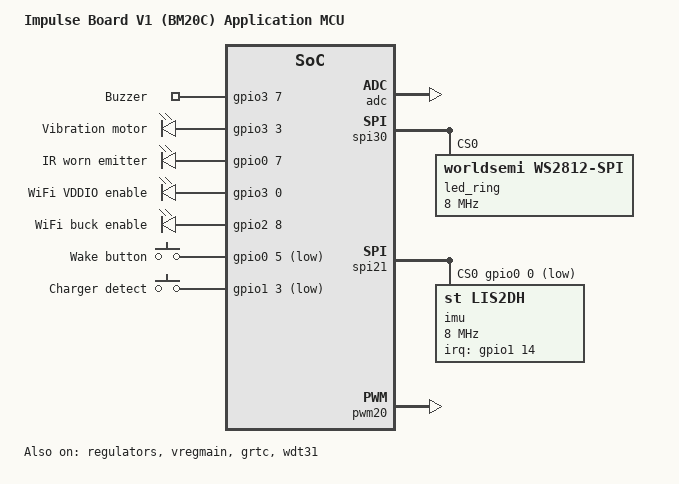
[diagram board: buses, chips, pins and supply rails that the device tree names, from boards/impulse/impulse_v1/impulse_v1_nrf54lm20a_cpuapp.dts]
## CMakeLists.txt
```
# SPDX-License-Identifier: Apache-2.0
cmake_minimum_required(VERSION 3.20.0)

# Board V1 lives in this tree, not in Zephyr's.
list(APPEND BOARD_ROOT ${CMAKE_CURRENT_SOURCE_DIR})

find_package(Zephyr REQUIRED HINTS $ENV{ZEPHYR_BASE})
project(impulse_firmware LANGUAGES C)

target_include_directories(app PRIVATE src)

target_sources(app PRIVATE
    src/main.c
    src/schedule/event.c
    src/schedule/schedule_blob.c
    src/schedule/schedule.c
    src/integrity/classify.c
    src/integrity/integrity.c
    src/enforcement/profiles.c
    src/enforcement/enforcement.c
    src/proximity/proximity.c
    src/proximity/cs_fuse.c
    src/storage/storage.c
    src/identity.c
    src/hal/outputs.c
    src/hal/led_ring.c
    src/hal/buttons.c
    src/hal/adc.c
    src/hal/servo.c
    src/fatal.c
)

target_sources_ifdef(CONFIG_IMPULSE_ROLE_ANCHOR app PRIVATE
    src/anchor/anchor.c
)

# One BLE module per role: the two services are disjoint and neither device
# needs the other's characteristics.
if(CONFIG_IMPULSE_BLE)
  if(CONFIG_IMPULSE_ROLE_ANCHOR)
    target_sources(app PRIVATE src/ble/ble_anchor.c)
  else()
    target_sources(app PRIVATE src/ble/ble_watch.c)
  endif()
endif()

target_sources_ifdef(CONFIG_IMPULSE_CS_BACKEND app PRIVATE
    src/proximity/cs_backend_nrf.c
)
# The reflector is the anchor's half of the pair. Both files define
# impulse_cs_backend_start(), so exactly one of them may be compiled.
target_sources_ifdef(CONFIG_IMPULSE_CS_REFLECTOR app PRIVATE
    src/proximity/cs_reflector_nrf.c
)
target_sources_ifdef(CONFIG_IMPULSE_NET app PRIVATE
    src/net/net_wifi.c
    src/net/net_udp.c
)

target_sources_ifdef(CONFIG_IMPULSE_BRINGUP_SHELL app PRIVATE
    src/hal/bringup_shell.c
)
```

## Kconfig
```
# Impulse firmware configuration
# SPDX-License-Identifier: Apache-2.0

menu "Impulse firmware"

choice IMPULSE_ROLE
	prompt "Device role"
	default IMPULSE_ROLE_WATCH
	help
	  One PCB, two roles, two images. Selected at COMPILE time, never at
	  runtime — firmware_spec_v3_nrf.md §1.3. The watch is the root of
	  trust; a runtime-selectable role would mean a watch could be told it
	  is an anchor, and an anchor does not enforce. That would reduce the
	  entire commitment-integrity chapter to a single settings write.

config IMPULSE_ROLE_WATCH
	bool "Watch"

config IMPULSE_ROLE_ANCHOR
	bool "Anchor"

endchoice

config IMPULSE_BLE
	bool "App-facing BLE peripheral and GATT surface"
	default y
	select BT
	select BT_PERIPHERAL
	select BT_GATT_DYNAMIC_DB
	help
	  The watch GATT service of firmware_spec_v2.md §5.6, minus the
	  deletions in v3 §4.8. This is how the app pushes a schedule, so with
	  it off the device cannot be configured at all.

	  The contract is FROZEN and declared in four places (CLAUDE.md).
	  Changing a UUID or a payload here without moving the app and
	  phone_sim in the same change breaks the product.

config IMPULSE_NET
	bool "WiFi + UDP anchor escalation (WATCH_REMOVED)"
	depends on WIFI_NRF70
	default y if WIFI_NRF70
	help
	  The §5.5.1 anchor-escalation path: the watch tells anchors it has been
	  taken off, over UDP. This is the transport that closes Sunrise Lock's
	  known bypass — leave the watch out of BLE range and go back to bed —
	  so it deliberately rides WiFi rather than BLE, which by construction
	  cannot outreach the thing it is trying to detect the absence of.

config IMPULSE_ESCALATION_WIFI_GIVEUP_MIN
	int "Minutes to keep retrying WiFi escalation before giving up"
	default 10
	help
	  How long the watch keeps trying to reach its anchors over WiFi after
	  the BLE link has failed, before it stops.

	  Escalation is BLE-first: the watch already holds a connection to the
	  anchor for ranging, so it writes there. WiFi is the fallback for the
	  case that matters most — the watch carried out of BLE range and left
	  there, which is Sunrise Lock's known bypass. Those two are mutually
	  exclusive by construction, which is required: BLE and WiFi cannot both
	  run on Board V1 (agent-notes 2026-09-12), and the FCC grant is
	  expected to forbid simultaneous operation.

	  Giving up is a DELIBERATE limit, not a fix. A watch that can reach
	  neither its anchor nor any network cannot escalate at all, and no
	  amount of retrying changes that; it is out of scope by decision.

config IMPULSE_CS_REFLECTOR
	bool "Channel Sounding REFLECTOR (anchor role)"
	help
	  The anchor half of the ranging pair: answers an initiator's tones and
	  serves ranging data over RAS. Computes no distance — the watch does
	  that, because the watch is the root of trust and an anchor is not
	  trusted to report its own distance (v3 §4).

	  Mutually exclusive with IMPULSE_CS_BACKEND, which is the initiator.
	  Build with: ./build.sh anchor -- -DEXTRA_CONF_FILE="anchor.conf;cs_reflector.conf"

config IMPULSE_CS_BACKEND
	bool "Real Channel Sounding backend (BLE + RAS)"
	default n
	select BT
	select BT_CENTRAL
	select BT_SMP
	select BT_GATT_CLIENT
	select BT_GATT_DYNAMIC_DB
	select BT_CHANNEL_SOUNDING
	select BT_RAS
	select BT_RAS_RREQ
	select BT_SCAN
	select BT_SCAN_FILTER_ENABLE
	select BT_CS_DE
	select BT_TRANSMIT_POWER_CONTROL
	select FPU
	select FPU_SHARING
	select CBPRINTF_FP_SUPPORT
	help
	  Replaces the abstaining stub with the real radio. Verified working
	  between Board V1 and an nRF54L15-DK in ../nrf_cs_test.

	  Default n while it still owns its own central connection and ranges
	  against whatever advertises the RAS service rather than against
	  event.anchorId — see the gap list at the top of cs_backend_nrf.c.
	  With it off, every measurement abstains, which fails CLOSED for
	  stayNear and open for getAway, exactly as spec §4.5 requires.

config IMPULSE_BRINGUP_SHELL
	bool "Bring-up shell over RTT"
	depends on SHELL
	default y
	help
	  Interactive commands that drive the buzzer, motor and LED ring
	  directly. Board V1 has no UART, so this is the only way to poke a
	  driver by hand.

	  MUST BE OFF IN A RELEASE IMAGE. On a commitment device, a runtime
	  path that can silence the motor and buzzer is a bypass; this is the
	  same reasoning that makes write-capable debug tools compile-time
	  excluded in the app rather than runtime-gated.

config IMPULSE_BUZZER_DISABLED
	bool "Compile out ALL buzzer output"
	default y
	help
	  Makes it impossible for this build to make a sound. Intended for
	  hardware testing in public, where an enforcement alarm or an anchor
	  removal beep going off would be a genuine disruption.

	  This is COMPILE-TIME on purpose, and it is belt and braces:
	    - impulse_buzzer_set() compiles to nothing, so no code path — not
	      an enforcement profile, not the anchor beep pattern, not the
	      Identify characteristic, not the bring-up shell — can drive it;
	    - the buzzer pin is never configured as an output. It is left as a
	      high-impedance input, so even a stray register write cannot make
	      the pad drive. R17 (10k to GND) holds the net low regardless.

	  A runtime flag would not do: on a commitment device the whole point
	  of the buzzer is that the user cannot silence it in the moment, so
	  the only safe way to guarantee silence is to not build the code.

	  DEFAULT IS y — REMEMBER TO SET IT BACK. The firmware prints a loud
	  warning at every boot while this is on, precisely so a silent buzzer
	  is never mistaken for a hardware fault later.

config IMPULSE_ADC_CH_BATTERY
	int "SAADC channel carrying the battery divider"
	default 0
	help
	  IDENTIFIED ON HARDWARE 2026-08-30, not read from a datasheet: the
	  AIN-to-pin mapping for the nRF54LM20A is in none of our documents
	  (BM20C.pdf lists analog functions only for the BM15). A boot sweep of
	  all eight inputs found AIN0 sitting at 2069 mV — Vbat/2 for a 4.14 V
	  cell — while every other channel was at rail, at zero, or noise.

	  This part has EIGHT inputs, AIN0..AIN7. Higher ids are rejected by
	  the driver.

config IMPULSE_ADC_CH_IR
	int "SAADC channel carrying the IR worn-detect receiver"
	default 1
	help
	  Also identified by the boot sweep: AIN1 was the only channel that
	  moved when the IR emitter was toggled (137 mV -> 73 mV). The swing is
	  NEGATIVE because the ITR8307's phototransistor pulls the node down as
	  it receives light, so more reflection means a lower reading.

config IMPULSE_WORN_THRESHOLD_MV
	int "IR lit-vs-ambient difference to become WORN"
	default 200
	help
	  Worn detection is lit-minus-ambient (§5.2), never an absolute level —
	  an absolute threshold tracks room lighting rather than skin.

	  STILL AN ESTIMATE. It could not be measured from a wrist because the
	  IR window is covered by the enclosure (2026-09-10), so this is set
	  from the NO-WRIST side only, which is the half that can be measured:

	    bare board, nothing in front of the sensor .... 64 mV
	    board in the case, on a desk, 8 samples ....... 75-90 mV

	  The case RAISES the floor — the plastic reflects the emitter straight
	  back — so the crosstalk this must clear is ~90 mV, not 64. 200 mV is
	  a bit over 2x that.

	  BIASED HIGH ON PURPOSE. The two failure directions are not equal:
	  reading "not worn" while worn costs a donning grace and a spurious
	  WATCH_REMOVED, while reading "worn" on a nightstand tells the system
	  a commitment is being honoured by a watch nobody is wearing. The
	  second is the one worth engineering against.

	  IF WORN NEVER ASSERTS, this is why — the number is too high for what
	  the enclosure lets through, not a broken sensor. Measure a real wrist
	  through the final window and set both this and the release value
	  below. See HARDWARE_TEST_PLAN.

config IMPULSE_WORN_RELEASE_MV
	int "IR difference at which WORN is released"
	default 140
	help
	  Hysteresis. Below this the watch is considered off the wrist; between
	  this and IMPULSE_WORN_THRESHOLD_MV the previous state is held.

	  There was previously ONE threshold, so a delta resting near it would
	  chatter worn/not-worn every second — and each flip drives the donning
	  grace (§5.4.4) and WATCH_REMOVED, which are not free. Must stay above
	  the measured no-wrist ceiling (~90 mV) and below the worn threshold.

config IMPULSE_MAX_EVENTS
	int "Maximum events in a stored schedule"
	default 64
	help
	  Bounds the deserialised schedule. The ESP32 build cut this to 24 under
	  heap pressure on a different MCU; this part has far more RAM, so the
	  original 64 is restored. A blob declaring more events than this is
	  rejected rather than truncated — a silently shortened schedule is a
	  silently weakened commitment.

config IMPULSE_SYSWORKQ_WATCHDOG
	bool "Reboot if the system workqueue stops making progress"
	default y
	help
	  Supervises the SYSTEM workqueue from the main thread and cold-reboots
	  the device if it stops running work.

	  This exists because of a real deadlock, diagnosed on the anchor over
	  SWD on 2026-09-12 (agent-notes). On a BLE disconnect the host runs its
	  connection teardown on the system workqueue; for a Channel Sounding
	  link that reaches bt_ras_rrsp_free(), which calls
	  k_work_queue_drain(&rrsp_wq) and waits K_FOREVER. k_work_cancel()
	  just above it does NOT stop an already-RUNNING handler, so if the RAS
	  reflector was mid-send it keeps running and blocks forever waiting for
	  an ATT buffer that a dead connection will never return. The system
	  workqueue is then wedged for good.

	  Nothing about that is visible from the outside: the main loop, the
	  logger and the heartbeat all keep running on their own threads, so the
	  device looks perfectly healthy while being unreachable over BLE and
	  unable to run any deferred work at all. It cost two days of "the
	  anchor keeps dying while powered" before the thread states were read.

	  A cold reboot is the honest response — the connection object is leaked
	  (ref never drops) and no in-process recovery can reclaim it. The
	  schedule is in NVS and the clock is persisted, so a reboot is cheap.

config IMPULSE_SYSWORKQ_STALL_S
	int "Seconds without system-workqueue progress before rebooting"
	depends on IMPULSE_SYSWORKQ_WATCHDOG
	default 60
	help
	  Must be comfortably longer than any legitimate work item. The probe is
	  submitted every quarter of this interval, so the true detection window
	  is between 0.75x and 1x this value.

config IMPULSE_HW_WATCHDOG
	bool "Hardware watchdog (WDT31), fed from the main loop"
	default y
	select WATCHDOG
	help
	  Resets the device if the main loop stops running.

	  CONFIG_IMPULSE_SYSWORKQ_WATCHDOG cannot catch this class of failure,
	  because it lives in the main loop it would need to be running in. On
	  2026-09-12 the watch halted on a SoftDevice Controller assert (23, 587):
	  interrupts locked, system tick stopped, every thread frozen — and the
	  vibration motor latched ON, because the last value written to the pad
	  simply stayed there. Nothing in software could notice. Only reset
	  stopped it. An earlier ~10-hour wedge inside a controller ISR had the
	  same property.

	  The watchdog is paused while a debugger holds the CPU halted, so SWD
	  inspection never trips it. It is NOT paused by a firmware halt, which is
	  why IMPULSE_HALT_ON_FATAL cannot be combined with it.

config IMPULSE_HW_WATCHDOG_TIMEOUT_S
	int "Hardware watchdog timeout, seconds"
	depends on IMPULSE_HW_WATCHDOG
	range 10 120
	default 30
	help
	  Must exceed the longest legitimate block in the main loop. That is
	  the channel sounding measure wait (IMPULSE_CS_MEASURE_WAIT_MS, 8 s);
	  30 s leaves wide margin without leaving a latched motor running for
	  long.

config IMPULSE_HALT_ON_FATAL
	bool "Halt instead of rebooting on a fatal error (bench only)"
	depends on !IMPULSE_HW_WATCHDOG
	help
	  Keeps a crashed device frozen so its thread states, fault registers
	  and unflushed RTT buffer can be read over SWD — which is exactly how
	  the 2026-09-12 controller assert was identified. Outputs are still
	  forced off first either way. Never ship this: a halted watch enforces
	  nothing until someone presses reset.

config IMPULSE_MAX_EVENTS_PER_DAY
	int "Maximum events resolved for a single day"
	default 32

config IMPULSE_PENDING_QUEUE_MAX
	int "Maximum quarantined loosening changes"
	default 16
	help
	  firmware_spec_v2.md §9.10 PENDING_QUEUE_MAX. When full, further
	  loosenings are DROPPED, not applied.

endmenu

# Step-mode choice used by cs_backend_nrf.c. Carried verbatim from the NCS
# ras_initiator sample so the symbol names the adapted source references keep
# working; renaming them would be churn with no benefit.
rsource "Kconfig.cs_sample"

source "Kconfig.zephyr"
```

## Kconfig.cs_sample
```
#
# Copyright (c) 2026 Nordic Semiconductor ASA
#
# SPDX-License-Identifier: LicenseRef-Nordic-5-Clause
#

menu "Channel Sounding RAS Initiator sample"

choice SAMPLE_RAS_INITIATOR_STEP_MODE
	prompt "Channel Sounding Step Modes selection"
	default SAMPLE_RAS_INITIATOR_STEP_MODE_2_SUB_MODE_1

config SAMPLE_RAS_INITIATOR_STEP_MODE_2_SUB_MODE_1
	bool "Main: 2, Sub: 1."
	help
	  This option enables CS with main mode 2 and submode 1.
	  Mode 2 steps are used for PBR and mode 1 steps are used for RTT.

config SAMPLE_RAS_INITIATOR_STEP_MODE_1
	bool "Main: 1, Sub: unused."
	help
	  This option enables CS with main mode 1 and submode unused.
	  Mode 1 steps are used for RTT.

config SAMPLE_RAS_INITIATOR_STEP_MODE_2
	bool "Main: 2, Sub: unused."
	help
	  This option enables CS with main mode 2 and submode unused.
	  Mode 2 steps are used for PBR.

config SAMPLE_RAS_INITIATOR_STEP_MODE_3
	bool "Main: 3, Sub: unused."
	select BT_RAS_MODE_3_SUPPORTED
	select BT_CTLR_SDC_CS_STEP_MODE3
	help
	  This option enables CS with main mode 3 and submode unused.
	  Mode 3 steps are used for PBR and RTT.

endchoice

endmenu

# NOTE: the upstream sample ends with `source "Kconfig.zephyr"` because it is a
# standalone application. Here it is included from this project's own Kconfig,
# which sources Zephyr itself — leaving it in sources the whole tree TWICE and
# produces a flood of "defined with a prompt outside the choice" warnings that
# abort the build.
```

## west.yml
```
# NCS version pin.
#
# firmware_spec_v3_nrf.md §1.2: pin the SDK, for exactly the reason v2 pinned
# the ESP32 toolchain. A floating SDK version is a silent-flash-bloat bug
# waiting to happen — and on this part it is worse, because nRF54LM20A support
# and the channel-sounding APIs are both new enough to move between releases.
#
# v3.4.0 was the latest release on 2026-08-30 and is the version this tree has
# been compiled against. It has nrf54lm20 board support and TF-M board files.
manifest:
  remotes:
    - name: nrfconnect
      url-base: https://github.com/nrfconnect
  projects:
    - name: sdk-nrf
      remote: nrfconnect
      revision: v3.4.0
      import: true
  self:
    path: impulse
```

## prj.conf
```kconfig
# Impulse firmware — common configuration.
# Role is selected per-build; see boards/*.conf and README.

# --- Debug transport -------------------------------------------------------
# There is no USB CDC on this board: the USB-C connector carries power and CC
# only, and D-/D+ are deliberately unrouted (spec v3 §1.4). Debug is SEGGER RTT
# over SWD through the TC2030-NL footprint. Do NOT enable a UART console and
# expect to see it.
CONFIG_SERIAL=n
CONFIG_CONSOLE=y
CONFIG_RTT_CONSOLE=y
CONFIG_USE_SEGGER_RTT=y
# Set EXPLICITLY. This was being auto-selected, and switching the log mode
# silently dropped it — leaving RTT_CONSOLE up (so the boot banner still
# appeared) while every LOG_INF went nowhere. That failure looks exactly like
# a crashed application.
# Logs are rendered by the SHELL backend on channel 0 (see above), so the
# standalone RTT log backend must be OFF or the two collide on one channel.
CONFIG_LOG_BACKEND_RTT=n
CONFIG_LOG_PRINTK=y
CONFIG_LOG=y
# IMMEDIATE, not deferred. A deferred backend drops everything still queued
# when the system panics — which is precisely the moment the log matters. This
# device logs rarely enough that synchronous output costs nothing real, and a
# panic with no message costs an hour.
# DEFERRED, not immediate — and this is a forced choice, not a preference.
# SHELL_BACKEND_RTT "depends on !(SHELL_LOG_BACKEND && LOG_MODE_IMMEDIATE)",
# and J-Link's telnet server only ever exposes RTT CHANNEL 0 (port 19021), so
# the shell cannot be moved to channel 1 to dodge the conflict. Having the
# bring-up shell reachable is worth more than immediate logging.
# If you are chasing a hard fault and need immediate logs, flip these three:
#   CONFIG_LOG_MODE_IMMEDIATE=y / CONFIG_SHELL_LOG_BACKEND=y /
#   # Logs are rendered by the SHELL backend on channel 0 (see above), so the
# standalone RTT log backend must be OFF or the two collide on one channel.
CONFIG_LOG_BACKEND_RTT=n  — and accept that ./shell.sh goes silent.
# [verified 2026-09-10]
CONFIG_LOG_MODE_DEFERRED=y
CONFIG_LOG_BUFFER_SIZE=8192
CONFIG_ASSERT=y
CONFIG_LOG_BUFFER_SIZE=4096

# --- Drivers ---------------------------------------------------------------
CONFIG_GPIO=y
CONFIG_SPI=y
CONFIG_LED_STRIP=y
CONFIG_WS2812_STRIP_SPI=y
CONFIG_INPUT=y
CONFIG_ADC=y
CONFIG_SENSOR=y
CONFIG_LIS2DH=y
CONFIG_PWM=y

# --- Bring-up shell (RTT). Not for release — see Kconfig. ---
CONFIG_SHELL=y
CONFIG_SHELL_BACKEND_SERIAL=n
CONFIG_SHELL_BACKEND_RTT=y
# SHELL_BACKEND_RTT "depends on !(SHELL_LOG_BACKEND && LOG_MODE_IMMEDIATE)".
# SHELL_LOG_BACKEND defaults to y whenever SHELL is set, so turning on
# LOG_MODE_IMMEDIATE (line 24, added so a workqueue stack overflow was
# readable) SILENTLY DISABLED THE WHOLE BRING-UP SHELL: prj.conf still asked
# for it, the build still succeeded, and the only trace was a Kconfig warning
# in the build log. Every ./shell.sh command simply produced nothing.
# Logs still reach RTT through LOG_BACKEND_RTT, so nothing is lost by
# declining the shell's own log backend. [verified 2026-09-10]
CONFIG_SHELL_LOG_BACKEND=y
# ...and once the backend is enabled, shell_rtt.c BUILD_ASSERTs that the shell
# and the log backend are not on the SAME RTT channel. Logs stay on channel 0
# (which is what rtt.sh reads); the shell moves to channel 1, which is why
# shell.sh talks to port 19022 rather than 19021.
CONFIG_SHELL_BACKEND_RTT_BUFFER=0
CONFIG_SEGGER_RTT_MAX_NUM_UP_BUFFERS=3
CONFIG_SEGGER_RTT_MAX_NUM_DOWN_BUFFERS=3
CONFIG_SHELL_PROMPT_RTT="impulse:~$ "
# The RTT down-channel defaults to 16 bytes, which silently TRUNCATES any
# shell command longer than that — it arrives as a mangled fragment rather
# than an error.
CONFIG_SEGGER_RTT_BUFFER_SIZE_DOWN=128
# The up-buffer defaults to 1024 bytes and RTT drops what does not fit rather
# than blocking. Bluetooth init emits a burst far larger than that, so the boot
# log was arriving with a hole in the middle — including the line saying
# whether advertising actually started.
CONFIG_SEGGER_RTT_BUFFER_SIZE_UP=4096

# --- Bluetooth (app-facing peripheral, §5.6) ---
CONFIG_BT_DEVICE_NAME="Impulse Watch"
CONFIG_BT_DEVICE_APPEARANCE=192
# The schedule blob is chunked at 20 bytes by the app, but a larger MTU costs
# nothing here and every other characteristic fits in one packet.
CONFIG_BT_L2CAP_TX_MTU=247
CONFIG_BT_BUF_ACL_TX_SIZE=251
CONFIG_BT_BUF_ACL_RX_SIZE=251
CONFIG_BT_ATT_PREPARE_COUNT=2
CONFIG_BT_MAX_CONN=1

# --- Storage ---------------------------------------------------------------
CONFIG_FLASH=y
CONFIG_FLASH_MAP=y
CONFIG_NVS=y
CONFIG_SETTINGS=y
CONFIG_SETTINGS_NVS=y

# --- Kernel ----------------------------------------------------------------
CONFIG_MAIN_STACK_SIZE=4096
CONFIG_SYSTEM_WORKQUEUE_STACK_SIZE=4096
CONFIG_HEAP_MEM_POOL_SIZE=8192
CONFIG_REBOOT=y

# Integrity timers are on a MONOTONIC elapsed basis, never wall-clock, so that
# a clock write cannot accelerate a quarantined loosening (spec v2 §9.2).
CONFIG_POSIX_API=n

# Reset cause at boot (power-on / brownout / watchdog / software / pin). Needed
# to tell a brownout from a crash — the 2026-09-12 anchor resets on battery
# could not be classified without it.
CONFIG_HWINFO=y
```

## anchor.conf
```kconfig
# Anchor role overlay:  west build -- -DEXTRA_CONF_FILE=anchor.conf
CONFIG_IMPULSE_ROLE_ANCHOR=y

# The GAP name is per-role; both were advertising as "Impulse Watch", which is
# confusing in a scan list showing several devices.
CONFIG_BT_DEVICE_NAME="Impulse Anchor"
```

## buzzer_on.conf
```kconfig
# Compile the buzzer back IN.
#
# CONFIG_IMPULSE_BUZZER_DISABLED defaults to y so that a build nobody thought
# about cannot make a noise in public. This file is the deliberate opt-out, and
# it is a separate fragment rather than a command-line -D so that which builds
# can make sound is visible in the build command and recorded in the shell
# history, not buried in a CMake cache.
CONFIG_IMPULSE_BUZZER_DISABLED=n
```

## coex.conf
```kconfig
# BLE/WiFi coexistence. See coex.overlay for the pin mapping and why this is
# opt-in. The nRF70 arbitrates with the SoC's radio over a 4-wire PTA link;
# without it the two radios share 2.4 GHz with nothing mediating.
CONFIG_NRF70_SR_COEX=y
CONFIG_NRF70_SR_COEX_RF_SWITCH=n
```

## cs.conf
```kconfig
# Channel Sounding overlay:  ./build.sh watch -- -DEXTRA_CONF_FILE="watch.conf;cs.conf"
#
# Values carried over from the NCS ras_initiator sample, which is the
# configuration proven working on this hardware pair. The antenna settings
# match Board V1's single chip antenna on the BM20C.
CONFIG_IMPULSE_CS_BACKEND=y

# TWO connections, not one. The watch must hold the app (peripheral) and an
# anchor (central) AT THE SAME TIME: the app expects live status while a
# commitment is being enforced, and enforcement needs the anchor link. With
# MAX_CONN=1 the second connection simply fails, which would present as
# "ranging stops whenever the app is open" — a bug that only appears in the
# field, with a phone in the room.
#
# Concurrent peripheral+central is exactly what broke the ESP32 build
# (v2 §10.1: ble_hs_timer_exp panic on both IDF 4.4.7 and 5.5.5, still
# unfixed, and the reason the app's calibration flow drops the phone link).
# Zephyr's host is a different stack, but this MUST be verified on hardware
# before the enforcement design is trusted — see HARDWARE_TEST_PLAN.
CONFIG_BT_MAX_CONN=2
CONFIG_BT_BONDABLE=n
CONFIG_BT_SCAN_UUID_CNT=1
# The CS scanner matches the anchor iBeacon in the ADVERTISING packet rather
# than the RAS UUID in the scan response — see scan_init() for why.
CONFIG_BT_SCAN_MANUFACTURER_DATA_CNT=1

# The Ranging Profile recommends an MTU of at least 247 octets.
CONFIG_BT_L2CAP_TX_MTU=498
CONFIG_BT_BUF_ACL_TX_SIZE=502
CONFIG_BT_BUF_ACL_RX_SIZE=502
CONFIG_BT_ATT_PREPARE_COUNT=3
CONFIG_BT_CTLR_DATA_LENGTH_MAX=251

# Single antenna path — the BM20C has one chip antenna, so there is no
# antenna switch and nothing to multiplex.
CONFIG_BT_RAS_MODE_3_SUPPORTED=n
CONFIG_BT_RAS_MAX_ANTENNA_PATHS=1
CONFIG_BT_CS_DE_MAX_NUM_ANTENNA_PATHS=1
CONFIG_BT_CTLR_SDC_CS_MAX_ANTENNA_PATHS=1
CONFIG_BT_CTLR_SDC_CS_NUM_ANTENNAS=1
CONFIG_BT_CTLR_SDC_CS_STEP_MODE3=n
CONFIG_BT_CTLR_SDC_CS_ROLE_INITIATOR_ONLY=y
CONFIG_BT_CTLR_CHANNEL_SOUNDING_TEST=n

CONFIG_BT_CS_DE_512_NFFT=y

# Step mode 2 (PBR) with sub-mode 1 (CS-RTT): PBR gives the fine estimate,
# CS-RTT the speed-of-light-bounded cross-check. Spec v3 §4.3.
CONFIG_SAMPLE_RAS_INITIATOR_STEP_MODE_2_SUB_MODE_1=y

CONFIG_HEAP_MEM_POOL_SIZE=16384
CONFIG_MAIN_STACK_SIZE=4096
```

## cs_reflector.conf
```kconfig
# Channel Sounding REFLECTOR overlay (anchor role):
#   ./build.sh anchor -- -DEXTRA_CONF_FILE="anchor.conf;cs_reflector.conf"
#
# Values carried from ../nrf_cs_test/reflector, which is the configuration
# proven working against Board V1 on 2026-08-30. Single antenna path, matching
# the BM20C's one chip antenna.
CONFIG_IMPULSE_CS_REFLECTOR=y

# TWO connections. The anchor is a peripheral to BOTH the phone app and the
# ranging watch, at the same time. With MAX_CONN=1 whichever arrives second is
# simply refused — which in the field looks like "ranging stops whenever the
# app is open", the hardest class of bug to reproduce on a bench.
CONFIG_BT_MAX_CONN=2
CONFIG_BT_BONDABLE=n

# The Ranging Profile recommends an MTU of at least 247 octets.
CONFIG_BT_L2CAP_TX_MTU=498
CONFIG_BT_BUF_ACL_TX_SIZE=502
CONFIG_BT_BUF_ACL_RX_SIZE=502
CONFIG_BT_CTLR_DATA_LENGTH_MAX=251

CONFIG_BT_SMP=y
CONFIG_BT_CTLR_PHY_2M=y
CONFIG_BT_AUTO_PHY_UPDATE=n
CONFIG_BT_GAP_AUTO_UPDATE_CONN_PARAMS=n
CONFIG_BT_TRANSMIT_POWER_CONTROL=y

# Channel Sounding + the Ranging Service responder.
CONFIG_BT_CHANNEL_SOUNDING=y
CONFIG_BT_RAS=y
CONFIG_BT_RAS_RRSP=y
# Freed by cs_reflector_nrf.c off the system workqueue instead: NCS's
# auto-free runs in the disconnected callback and deadlocks there.
CONFIG_BT_RAS_RRSP_AUTO_ALLOC_INSTANCE=n
CONFIG_BT_RAS_MODE_3_SUPPORTED=n
CONFIG_BT_RAS_MAX_ANTENNA_PATHS=1

# REFLECTOR_ONLY is a deliberate saving, not a default: the anchor never
# initiates, so the initiator half of the controller is dead weight.
CONFIG_BT_CTLR_SDC_CS_ROLE_REFLECTOR_ONLY=y
CONFIG_BT_CTLR_SDC_CS_MAX_ANTENNA_PATHS=1
CONFIG_BT_CTLR_SDC_CS_NUM_ANTENNAS=1
CONFIG_BT_CTLR_SDC_CS_STEP_MODE3=n
CONFIG_BT_CS_DE_MAX_NUM_ANTENNA_PATHS=1
CONFIG_BT_CTLR_CHANNEL_SOUNDING_TEST=n
```

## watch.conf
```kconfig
# Watch role overlay:  west build -- -DEXTRA_CONF_FILE=watch.conf
CONFIG_IMPULSE_ROLE_WATCH=y
```

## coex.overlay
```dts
/*
 * BLE <-> WiFi coexistence (PTA) for Board V1.
 *
 * The BM20C and the WM02C share the 2.4 GHz band and the four coex wires
 * between them are ROUTED on this board — they are simply unused by default,
 * which means the two radios currently transmit with nothing arbitrating
 * between them. Pins read from the KiCad netlist (U8 <-> U7):
 *
 *   BT-COEX-REQ_11      H9   P1.09   -> PTA REQUEST
 *   BT-COEX-STATUS0_10  K9   P1.31   -> PTA PRIORITY / direction
 *   BT-COEX-GRANT_12    K4   P1.12   -> PTA GRANT
 *   SW-CTRL1_14         K2   P3.10   -> STATUS1 (4-wire coex)
 *
 * Opt-in, because it is a hypothesis rather than a proven fix:
 *   ./build.sh anchor --cs --wifi --coex
 */
/ {
	nrf_radio_coex: nrf7002-coex {
		compatible = "nordic,nrf7002-coex";
		status = "okay";
		req-gpios      = <&gpio1 9  GPIO_ACTIVE_HIGH>;
		status0-gpios  = <&gpio1 31 GPIO_ACTIVE_HIGH>;
		grant-gpios    = <&gpio1 12 GPIO_ACTIVE_HIGH>;
		swctrl1-gpios  = <&gpio3 10 GPIO_ACTIVE_HIGH>;
	};
};
```

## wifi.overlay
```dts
/*
 * WM02C (nRF7002) on Board V1 — SPI, not QSPI.
 *
 * Every pin below was read out of the KiCad netlist (U8 = WM02E symbol, the
 * fitted part is a WM02C), not transcribed from a table:
 *
 *   QSPI-DATA0 K8  MOSI      P1.06   shared with the IMU
 *   QSPI-DATA1 G4  MISO      P1.07   shared with the IMU
 *   QSPI-CLK   H4  SPI_CLK   P1.11   shared with the IMU
 *   QSPI-SS    J4  /SPI-SS   P1.10   WiFi chip select
 *   IRQ        F2  /WIFI_INT P1.15
 *   BUCK-EN    K6  /BUCK_EN  P2.08
 *   VDDIO      16            P3.00   via U2, a TPS22916 load switch
 *
 * IT IS SPI, NOT QSPI, AND THIS IS A HARDWARE FACT, NOT A CHOICE:
 * QSPI-DATA2 (pin 2) and QSPI-DATA3 (pin 1) are "unconnected-(U8-QSPI-DATA...)"
 * in the netlist. Only two data lines are routed, so the part can only be
 * driven in SPI mode. Anything written against "nordic,nrf7002-qspi" will not
 * work on this board.
 *
 * THE BUS IS SHARED WITH THE IMU (U6, LIS3DHTR) — same SCK/MOSI/MISO, separate
 * chip selects. That is the arbitration hazard the board DTS has flagged as a
 * chunk-I problem since the port started. Zephyr's SPI driver serialises
 * transfers per-bus, so concurrent access is safe by construction; what is NOT
 * proven is whether the nRF70's timing tolerates being interleaved with IMU
 * reads.
 */
#include <freq.h>

/ {
	chosen {
		zephyr,wifi = &wlan0;
	};
};

&spi21 {
	/* Index 0 stays the IMU so its reg = <0> is unchanged; WiFi is added
	 * as index 1. Order matters — cs-gpios is indexed by the child's reg. */
	cs-gpios = <&gpio0 0 GPIO_ACTIVE_LOW>,
		   <&gpio1 10 GPIO_ACTIVE_LOW>;

	nrf70: nrf7002-spi@1 {
		compatible = "nordic,nrf7002-spi";
		status = "okay";
		reg = <1>;
		spi-max-frequency = <DT_FREQ_M(8)>;

		iovdd-ctrl-gpios = <&gpio3 0 GPIO_ACTIVE_HIGH>;
		bucken-gpios     = <&gpio2 8 GPIO_ACTIVE_HIGH>;
		host-irq-gpios   = <&gpio1 15 GPIO_ACTIVE_HIGH>;

		/*
		 * TX power ceilings copied from Nordic's nRF7002 EB-II shield.
		 * THESE ARE THE EVALUATION BOARD'S NUMBERS, NOT OURS. v3 §1.1
		 * makes the certified gain/backoff values a condition of the
		 * FCC grant, so these must be replaced with the figures from
		 * our own antenna before anything ships.
		 */
		wifi-max-tx-pwr-2g-dsss = <21>;
		wifi-max-tx-pwr-2g-mcs0 = <16>;
		wifi-max-tx-pwr-2g-mcs7 = <16>;
		wifi-max-tx-pwr-5g-low-mcs0 = <13>;
		wifi-max-tx-pwr-5g-low-mcs7 = <13>;
		wifi-max-tx-pwr-5g-mid-mcs0 = <13>;
		wifi-max-tx-pwr-5g-mid-mcs7 = <13>;
		wifi-max-tx-pwr-5g-high-mcs0 = <12>;
		wifi-max-tx-pwr-5g-high-mcs7 = <12>;

		wlan0: wlan0 {
			compatible = "nordic,wlan";
		};
	};
};
```

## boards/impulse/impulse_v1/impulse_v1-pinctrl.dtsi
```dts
/*
 * Impulse Board V1 pin control.
 * SPDX-License-Identifier: Apache-2.0
 *
 * Pins from firmware_spec_v3_nrf.md §2. Nordic port numbering — a pin number
 * carried across from the ESP32 spec will be wrong.
 */

&pinctrl {
	/*
	 * LED ring on SPIM30. Only MOSI reaches anything: P0.02 -> R15 -> DIN.
	 * SCK still has to be assigned somewhere, and P0.06 is a module pad with
	 * NO NET AT ALL (§2 "module pads with no net"), so driving it is inert.
	 * It must stay in the P0 (30) domain along with the instance.
	 */
	spi30_default: spi30_default {
		group1 {
			psels = <NRF_PSEL(SPIM_SCK, 0, 6)>,
				<NRF_PSEL(SPIM_MOSI, 0, 2)>;
		};
	};

	spi30_sleep: spi30_sleep {
		group1 {
			psels = <NRF_PSEL(SPIM_SCK, 0, 6)>,
				<NRF_PSEL(SPIM_MOSI, 0, 2)>;
			low-power-enable;
		};
	};

	/* IMU bus — shared with the WM02C QSPI (§2). */
	spi21_default: spi21_default {
		group1 {
			psels = <NRF_PSEL(SPIM_SCK, 1, 11)>,
				<NRF_PSEL(SPIM_MOSI, 1, 6)>,
				<NRF_PSEL(SPIM_MISO, 1, 7)>;
		};
	};

	spi21_sleep: spi21_sleep {
		group1 {
			psels = <NRF_PSEL(SPIM_SCK, 1, 11)>,
				<NRF_PSEL(SPIM_MOSI, 1, 6)>,
				<NRF_PSEL(SPIM_MISO, 1, 7)>;
			low-power-enable;
		};
	};

	/* Servo, anchor role only. P1.02 is reachable by PWM20 (P1/P3 domain). */
	pwm20_default: pwm20_default {
		group1 {
			psels = <NRF_PSEL(PWM_OUT0, 1, 2)>;
		};
	};

	pwm20_sleep: pwm20_sleep {
		group1 {
			psels = <NRF_PSEL(PWM_OUT0, 1, 2)>;
			low-power-enable;
		};
	};
};
```

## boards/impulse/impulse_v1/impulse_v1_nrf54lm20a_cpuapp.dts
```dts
/*
 * Impulse Board V1 — Fanstel BM20C (nRF54LM20A).
 * SPDX-License-Identifier: Apache-2.0
 *
 * Pin map: firmware_spec_v3_nrf.md §2, which is itself transcribed from
 * ~/Documents/KiCad/ImpulseBluetooth/Impulse.kicad_sch. Four signals here were
 * additionally EXERCISED on real hardware on 2026-08-29 (ring, motor, buzzer,
 * wake button) — those are marked [verified]. Everything else is [from schematic]
 * and has never been driven. Re-export the netlist before trusting the rest:
 *   kicad-cli sch export netlist --format kicadsexpr
 */

/dts-v1/;

#include <nordic/nrf54lm20a_cpuapp.dtsi>
#include <zephyr/dt-bindings/input/input-event-codes.h>
#include <zephyr/dt-bindings/led/led.h>
#include <zephyr/dt-bindings/regulator/nrf5x.h>
#include <zephyr/dt-bindings/gpio/nordic-nrf-gpio.h>
#include <zephyr/dt-bindings/adc/adc.h>
#include <zephyr/dt-bindings/adc/nrf-saadc.h>
#include "impulse_v1-pinctrl.dtsi"

/ {
	compatible = "impulse,impulse-v1-nrf54lm20a-cpuapp";
	model = "Impulse Board V1 (BM20C) Application MCU";

	chosen {
		zephyr,flash-controller = &rram_controller;
		zephyr,flash = &cpuapp_rram;
		zephyr,code-partition = &slot0_partition;
		zephyr,sram = &cpuapp_sram;
	};

	aliases {
		led-strip = &led_ring;
		watchdog0 = &wdt31;
	};

	/*
	 * Simple GPIO outputs. "gpio-leds" is used as a generic output binding
	 * so each gets a GPIO_DT_SPEC without a custom binding; none of these
	 * are LEDs and none are driven by the LED subsystem.
	 */
	outputs {
		compatible = "gpio-leds";

		/* [verified 2026-08-29] Active buzzer, direct to BUZZER1, pad C9.
		 * R17 (10k) pulls it to GND so it is silent through reset.
		 * DC drive sounds it — confirmed on the bench with a 150 ms pulse,
		 * so the fitted part is genuinely an active buzzer and no PWM tone
		 * generation is required. */
		buzzer: buzzer {
			/* HIGH DRIVE is required, not cosmetic. The buzzer is a
			 * ~30 mA load hung directly off the pin with no
			 * transistor. At standard drive the pad sags far enough
			 * that its own input buffer reads it back LOW while it
			 * is being driven high — observed on hardware
			 * 2026-08-30, and the bare-metal bring-up used
			 * extra-high drive for the same reason. */
			gpios = <&gpio3 7 (GPIO_ACTIVE_HIGH | NRF_GPIO_DRIVE_H0H1)>;
			label = "Buzzer";
		};

		/* [verified 2026-08-29] Vibration motor, pad A7, via R5 (1k) to Q3
		 * (BSS138) low-side switch. R10 (100k) holds the gate down through
		 * reset. Drives a MOSFET gate only, so it sources no real current. */
		motor: motor {
			gpios = <&gpio3 3 GPIO_ACTIVE_HIGH>;
			label = "Vibration motor";
		};

		/* [from schematic] IR worn-detect emitter, pad E4, via R7 (100R)
		 * to KEY1 (ITR8307). Lit only during a worn sample — see §5.2. */
		ir_emit: ir_emit {
			gpios = <&gpio0 7 GPIO_ACTIVE_HIGH>;
			label = "IR worn emitter";
		};

		/* [from schematic] WiFi rails. VDDIO gates U2 (TPS22916) into the
		 * WM02C, so WiFi can be powered off rather than idled (§1.1). */
		wifi_vddio_en: wifi_vddio_en {
			gpios = <&gpio3 0 GPIO_ACTIVE_HIGH>;
			label = "WiFi VDDIO enable";
		};

		wifi_buck_en: wifi_buck_en {
			gpios = <&gpio2 8 GPIO_ACTIVE_HIGH>;
			label = "WiFi buck enable";
		};
	};

	buttons {
		compatible = "gpio-keys";

		/* [verified 2026-08-29] Wake button S2 to GND, pad D9, on the back
		 * of the board. No external pull — the internal one is required.
		 * Short press lights the clock (§6.2); long press is reserved for
		 * the hard override and is deliberately NOT implemented (chunk J). */
		wake_button: wake_button {
			gpios = <&gpio0 5 (GPIO_PULL_UP | GPIO_ACTIVE_LOW)>;
			label = "Wake button";
			zephyr,code = <INPUT_KEY_0>;
		};

		/* [from schematic] Charger detect from the TP4057, pad C5. New on
		 * Board V1 — v2 had no charge-state input and inferred it from
		 * voltage (§6.3). Polarity is UNVERIFIED — see the test plan. */
		charger_detect: charger_detect {
			gpios = <&gpio1 3 (GPIO_PULL_UP | GPIO_ACTIVE_LOW)>;
			label = "Charger detect";
			zephyr,code = <INPUT_KEY_1>;
		};
	};
};

&cpuapp_sram {
	status = "okay";
};

/*
 * Use the on-module 32.768 kHz crystal, not the internal RC.
 * firmware_spec_v3_nrf.md §3.2 is emphatic about this: Zephyr falls back to
 * the RC when nothing is specified, which runs silently on a worse clock with
 * the crystal sitting unused and no error anywhere. Both crystals are embedded
 * in the BM20C (datasheet Draft Ver 0.82: "32.0 MHz and 32.768 kHz crystals
 * embedded"), so there is nothing external to fit.
 * TODO(hw): confirm at runtime in chunk D that LFCLK really is on LFXO.
 */
&lfxo {
	load-capacitors = "internal";
	load-capacitance-femtofarad = <17000>;
};

&hfxo {
	load-capacitors = "internal";
	load-capacitance-femtofarad = <15000>;
};

&regulators {
	status = "okay";
};

&vregmain {
	status = "okay";
	regulator-initial-mode = <NRF5X_REG_MODE_DCDC>;
};

&gpio0 { status = "okay"; };
&gpio1 { status = "okay"; };
&gpio2 { status = "okay"; };
&gpio3 { status = "okay"; };
/*
 * The nRF clock-control node is status="disabled" in the SoC dtsi and MUST be
 * enabled here. Without it CONFIG_CLOCK_CONTROL_NRF is never selected, and
 * MPSL — the radio scheduler under the Bluetooth controller — fails to build
 * with "Clock source is not supported or not defined". Nothing else in the
 * firmware needs it, so the omission stays invisible until the first build
 * that turns on Bluetooth.
 */
&clock { status = "okay"; };

&gpiote20 { status = "okay"; };
&gpiote30 { status = "okay"; };
/* The GRTC is the system time base and the wake source for scheduled windows.
 * Channel split copied from Nordic's own DK definition: 7-11 are reserved for
 * zero-latency IRQs and 3-4 for the FLPR core. */
&grtc {
	owned-channels = <0 1 2 3 4 5 6 7 8 9 10 11>;
	child-owned-channels = <3 4 7 8 9 10 11>;
	status = "okay";
};
/*
 * EVERY SAADC input is declared, not just the two the board uses, because the
 * AIN-to-pin mapping for the nRF54LM20A is in no document available here —
 * datasheets/BM20C.pdf lists analog functions only in its BM15 columns. The
 * mapping is therefore found empirically: `impulse adc` sweeps all of them and
 * the battery divider (Vbat/2 on P1.00, a known live voltage) identifies
 * itself, while toggling the IR emitter identifies the worn-sense input.
 *
 * Once the mapping is known, drop the channels that are not used — reading an
 * unknown channel is harmless, but shipping fourteen of them is not tidy.
 */
&adc {
	status = "okay";
	#address-cells = <1>;
	#size-cells = <0>;

};

/*
 * LED ring — 12x SK6805-EC15 on P0.02 via R15 (510R) to LED1.DIN.
 *
 * MUST be SPIM30. This is not a style choice and it cost hours to establish:
 * PWM20/21/22 live at 0x500Dxxxx and CANNOT reach P0, which is in the "30"
 * domain at 0x5010xxxx. Measured 2026-08-29 — PWM reported a full DMA AMOUNT
 * and SEQEND every frame while driving the pad with 0 highs out of 199 samples.
 * Zephyr's own DK board file states the same rule. Bit-banging is out too: a
 * GPIO write to P0 costs ~25-40 cycles even with ICACHE on, flooring the high
 * time near 1.6 us against a 0.45 us budget.
 *
 * Frame timing below reproduces the values MEASURED to work on this ring:
 *   8 MHz SPI (16 MHz / 2 — an achievable SPIM prescaler; 6.4 MHz is not),
 *   8 SPI bits per LED bit => 125 ns per SPI bit, 1.0 us per LED bit.
 *   zero-frame 0xC0 = 2 bits = 0.25 us  [verified as a zero]
 *   one-frame  0xFC = 6 bits = 0.75 us  [verified as a one]
 * T1H of 0.75 us is ABOVE the SK6805 datasheet nominal. 0.5 us is inside the
 * datasheet window and this chain decodes it as a ZERO — the whole ring went
 * dark while still accepting frames. Do not "correct" these toward the
 * datasheet. See docs/agent-notes.md, 2026-08-29.
 */
&spi30 {
	status = "okay";
	pinctrl-0 = <&spi30_default>;
	pinctrl-1 = <&spi30_sleep>;
	pinctrl-names = "default", "sleep";

	led_ring: ws2812@0 {
		compatible = "worldsemi,ws2812-spi";
		reg = <0>;
		spi-max-frequency = <8000000>;
		chain-length = <12>;
		color-mapping = <LED_COLOR_ID_GREEN
				 LED_COLOR_ID_RED
				 LED_COLOR_ID_BLUE>;
		spi-one-frame = <0xFC>;
		spi-zero-frame = <0xC0>;
		reset-delay = <300>;
	};
};

/*
 * IMU — LIS3DHTR (U6) on the shared SPI bus with the WM02C's QSPI.
 * [from schematic] SCK P1.11, MOSI P1.06, MISO P1.07, CS P0.00.
 * NOTE the CS is on a different GPIO port from the bus pins; cs-gpios is a
 * software GPIO toggle so that is legal, but it is UNVERIFIED on hardware.
 * TODO(hw): the bus is shared with WiFi QSPI — arbitration is a chunk-I
 * problem and is not solved here.
 */
&spi21 {
	status = "okay";
	pinctrl-0 = <&spi21_default>;
	pinctrl-1 = <&spi21_sleep>;
	pinctrl-names = "default", "sleep";
	cs-gpios = <&gpio0 0 GPIO_ACTIVE_LOW>;

	imu: lis2dh@0 {
		/* TODO(api): Zephyr ships "st,lis2dh" which covers the LIS3DH
		 * family; the fitted part is a LIS3DHTR. Verify the driver
		 * actually matches this part's WHO_AM_I before trusting data. */
		compatible = "st,lis2dh";
		reg = <0>;
		spi-max-frequency = <8000000>;
		/* IMU INT1 on P1.14 — motion wake source (v2 §8.4). The net is
		 * named IMU_ESP_INT in the schematic; that is a leftover and it
		 * is not an ESP interrupt. */
		irq-gpios = <&gpio1 14 GPIO_ACTIVE_HIGH>;
		status = "okay";
	};
};

/*
 * Servo — anchor role only (v2 §4.9 strap lock). P1.02, pad A8.
 * P1 is in the PWM20 domain so PWM is available here, unlike the LED ring.
 * The 3-wire lead is SOLDERED to U1's pads; the header is never populated.
 * U1 pin 2 is /VBAT direct — no switch, no fuse, no current limit — so the
 * servo rail CANNOT be cut in software and a stall is unbounded by anything
 * firmware controls (§7). Do not write a recovery path that cannot work.
 */
&pwm20 {
	status = "okay";
	pinctrl-0 = <&pwm20_default>;
	pinctrl-1 = <&pwm20_sleep>;
	pinctrl-names = "default", "sleep";
};

&uart20 { status = "disabled"; };
&uart30 { status = "disabled"; };

#include <vendor/nordic/nrf54lm20a_cpuapp_partition.dtsi>

/* Hardware watchdog. The SoC dtsi leaves it disabled; see
 * CONFIG_IMPULSE_HW_WATCHDOG for why the product needs it. */
&wdt31 {
	status = "okay";
};
```

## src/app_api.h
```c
/*
 * Hooks the bring-up shell uses to drive the application state that main.c
 * owns. Bring-up only — see CONFIG_IMPULSE_BRINGUP_SHELL.
 * SPDX-License-Identifier: Apache-2.0
 */
#ifndef IMPULSE_APP_API_H_
#define IMPULSE_APP_API_H_

#include <stdbool.h>
#include <stddef.h>
#include <stdint.h>

/* Snapshot for the Watch Status characteristic (§5.6). */
struct impulse_app_status {
	uint8_t activity_state; /* 0 dormant, 1 enforcement, 2 dormant_sleep */
	uint8_t bt_connected;
	uint8_t wifi_connected;
	uint8_t worn;
	uint8_t battery_pct; /* 0xFF = not available */
	uint8_t active_event_id[16];
	uint8_t condition_met;
	uint32_t schedule_crc;
};

void impulse_app_get_status(struct impulse_app_status *out);

/*
 * Apply a received schedule blob through the §9.3 commitment-integrity gate.
 * Returns the §6.2 END verdict byte: 0x01 accepted, 0x03 partially
 * quarantined, 0x04 rejected (would loosen the ACTIVE event), 0x00 parse/CRC
 * failure. NEVER bypasses the gate — that gate is the product.
 */
uint8_t impulse_app_apply_schedule(const uint8_t *blob, size_t len);

/* Settings characteristic (§5.6, gated by §9.8). Returns the response byte. */
uint8_t impulse_app_apply_settings(uint8_t disconnected_is_dormant,
				   uint8_t away_is_dormant,
				   int16_t tz_offset_minutes,
				   uint16_t settle_window_min);

/* Time write (§5.6), guarded by §9.7. Returns the response byte. */
uint8_t impulse_app_apply_time(int64_t utc_seconds, int16_t tz_offset_minutes);

/* Watch: WiFi credentials (JSON {"ssid":...,"password":...}) and the anchor
 * UUID->IP table ([n] then [uuid 16][ipv4 4][ts u32] per entry), both pushed by
 * the app. These used to be accepted at the ATT layer and dropped. */
void impulse_app_apply_wifi_credentials(const uint8_t *json, size_t len);
void impulse_app_apply_anchor_ips(const uint8_t *buf, size_t len);

/* Emergency pass (§9.6). */
uint8_t impulse_app_pass_spend(const uint8_t *event_id, uint32_t date_yyyymmdd,
			       uint8_t *remaining_out);
uint8_t impulse_app_pass_set_allowance(uint8_t allowance);
void impulse_app_pass_read(uint8_t *allowance, uint8_t *remaining);

/* Pending Changes queue (§9.5). Fills `buf` with the wire payload, returns
 * the number of bytes written. */
size_t impulse_app_pending_payload(uint8_t *buf, size_t cap);

/* --- anchor role (§4.7, §4.9) --------------------------------------------
 * The anchor stores and recomputes its own schedule but does NOT run the §9
 * integrity gate: the watch is the root of trust and an anchor that
 * quarantined its own schedule would just be out of sync with the device that
 * actually decides.
 */
uint8_t impulse_app_anchor_apply_schedule(const uint8_t *blob, size_t len);
void impulse_app_anchor_set_settings(uint16_t max_beep_minutes,
				     int16_t tz_offset_minutes);
bool impulse_app_anchor_in_active_event(void);

/* CRC32 of the schedule blob this anchor currently holds (§4.7 sync check). */
uint32_t impulse_app_anchor_schedule_crc(void);

/* Anchor: resolve an event UUID from a UDP command against the anchor's OWN
 * schedule and clock, returning it only if a window is open right now. */
const struct impulse_event *impulse_app_find_active_event(const uint8_t *event_uuid);

void impulse_app_set_time(int64_t utc_seconds, int16_t tz_offset_minutes);
int64_t impulse_app_now_utc(void);

/* Install a synthetic single-event schedule whose window covers the current
 * minute, so the enforcement path can be driven end to end without BLE. */
int impulse_app_install_demo(uint8_t criteria, uint8_t profile);

/* Bench override for the worn sensor: -1 = sensor, 0 = force off, 1 = force on.
 * Shell only — never exposed over BLE. See the comment at g_worn_override. */
void impulse_app_force_worn(int8_t mode);

/* Persist / reload, for the storage round-trip test. */
int impulse_app_save_all(void);
void impulse_app_report(void);

#endif /* IMPULSE_APP_API_H_ */
```

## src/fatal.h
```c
/*
 * Fatal-error handling, crash records and the hardware watchdog.
 *
 * SPDX-License-Identifier: Apache-2.0
 */
#ifndef IMPULSE_FATAL_H_
#define IMPULSE_FATAL_H_

/* Log why the previous boot ended: the hardware reset cause, plus the crash
 * record left by the fatal handler if there is one. Call once, early. */
void impulse_fatal_report_boot(void);

/* No-ops unless CONFIG_IMPULSE_HW_WATCHDOG. Start after init; feed every
 * main-loop pass. */
void impulse_hw_watchdog_start(void);
void impulse_hw_watchdog_feed(void);

/*
 * Record WHY this firmware is about to reboot itself, in RAM that survives the
 * reset, and log it at the next boot. Call immediately before sys_reboot().
 *
 * The RTT line a deliberate reboot prints is almost always lost: on 2026-09-13
 * the anchor rebooted mid-window with no crash record and nothing readable
 * over SWD afterwards, leaving the sysworkq watchdog, the RRSP stuck-free
 * timer, the hardware watchdog and a brownout all equally plausible.
 * `why` must be a string literal (only the pointer's text is copied).
 */
void impulse_note_reboot(const char *why);

#endif /* IMPULSE_FATAL_H_ */
```

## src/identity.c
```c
/* SPDX-License-Identifier: Apache-2.0 */
#include "identity.h"

#include <string.h>

void impulse_derive_device_uuid(uint8_t out[IMPULSE_UUID_LEN])
{
	/* FICR base 0x00FFC000, INFO at +0x300, DEVICEID at +0x304 (2 words). */
	const volatile uint32_t *deviceid =
		(const volatile uint32_t *)0x00FFC304UL;
	uint32_t a = deviceid[0];
	uint32_t b = deviceid[1];

	for (int i = 0; i < IMPULSE_UUID_LEN; i++) {
		uint32_t src = (i < 8) ? a : b;

		out[i] = (uint8_t)((src >> ((i % 4) * 8)) & 0xFFU) ^
			 (uint8_t)(0x4A + i);
	}
	/* RFC 4122 version/variant bits, so it is a well-formed UUIDv4-shaped
	 * value rather than a raw silicon id. */
	out[6] = (uint8_t)((out[6] & 0x0FU) | 0x40U);
	out[8] = (uint8_t)((out[8] & 0x3FU) | 0x80U);
}

const uint8_t *impulse_watch_uuid(void)
{
	static uint8_t uuid[IMPULSE_UUID_LEN];
	static bool derived;

	if (!derived) {
		impulse_derive_device_uuid(uuid);
		derived = true;
	}
	return uuid;
}
```

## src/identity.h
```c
/* SPDX-License-Identifier: Apache-2.0 */
#ifndef IMPULSE_IDENTITY_H_
#define IMPULSE_IDENTITY_H_

#include <stdint.h>

#include "schedule/schedule.h"

/*
 * Derive this board's stable device UUID from FICR DEVICEID.
 *
 * Both roles need one: the anchor for §4.2 identity, and the watch because
 * every UDP command carries the watch UUID (§6.1). They share this derivation
 * so the two cannot drift — an anchor and a watch built from the same tree must
 * shape their identity identically or the app sees two different schemes.
 *
 * Stable across reboots without needing storage to have loaded, and unique per
 * physical board. Callers may overwrite with a persisted value.
 */
void impulse_derive_device_uuid(uint8_t out[IMPULSE_UUID_LEN]);

/* The watch's own UUID, derived once at first call. */
const uint8_t *impulse_watch_uuid(void);

#endif /* IMPULSE_IDENTITY_H_ */
```
